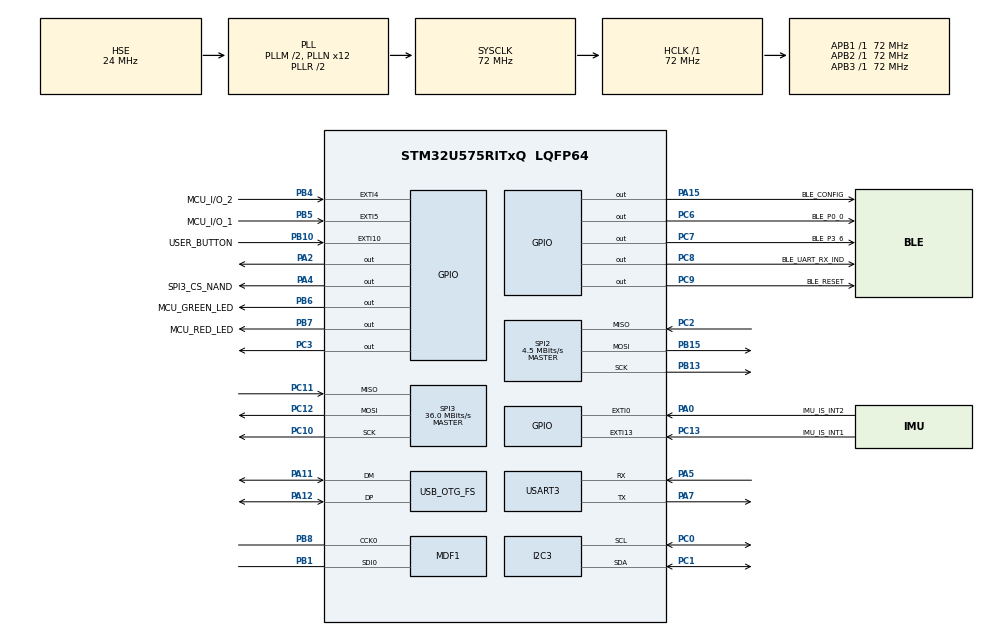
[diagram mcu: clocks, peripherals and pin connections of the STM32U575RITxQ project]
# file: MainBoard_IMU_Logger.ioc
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CORTEX_M33_NS.userName=CORTEX_M33
I2C3.Timing=0x10808DD3
MDF1.MDF_COMPARAM_ActivationClockTrigger=ENABLE
MDF1.MDF_COMPARAM_ActivationOutputClock=ENABLE
MDF1.MDF_COMPARAM_Divider=5
MDF1.MDF_COMPARAM_Pins=MDF_OUTPUT_CLOCK_ALL
MDF1.MDF_DFLT0_AcquisitionMode=MDF_MODE_SYNC_CONT
MDF1.MDF_DFLT0_CIC_Mode=MDF_ONE_FILTER_SINC5
MDF1.MDF_DFLT0_Decimation=16
MDF1.MDF_DFLT0_DiscardSamples=255
MDF1.MDF_DFLT0_Gain=1
MDF1.MDF_DFLT0_HighPassFilterActivation=ENABLE
MDF1.MDF_DFLT0_ReshapeFilterActivation=ENABLE
MDF1.MDF_SITF0_Mode_Display=MDF_SITF_NORMAL_SPI_MODE
MDF1.MDF_SITF0_Threshold=31
Mcu.Family=STM32U5
Mcu.Name=STM32U575RITxQ
Mcu.Package=LQFP64
NVIC.EXTI0_IRQn=true\:0\:0\:false\:false\:true\:true\:true\:true
NVIC.EXTI10_IRQn=true\:0\:0\:false\:false\:true\:true\:true\:true
NVIC.EXTI13_IRQn=true\:0\:0\:false\:false\:true\:true\:true\:true
NVIC.EXTI4_IRQn=true\:0\:0\:false\:false\:true\:true\:true\:true
NVIC.EXTI5_IRQn=true\:0\:0\:false\:false\:true\:true\:true\:true
NVIC.MDF1_FLT0_IRQn=true\:0\:0\:false\:false\:true\:true\:true\:true
NVIC.OTG_FS_IRQn=true\:0\:0\:false\:false\:true\:true\:true\:true
NVIC.PriorityGroup=NVIC_PRIORITYGROUP_4
NVIC.SPI2_IRQn=true\:0\:0\:false\:false\:true\:true\:true\:true
NVIC.SPI3_IRQn=true\:0\:0\:false\:false\:true\:true\:true\:true
NVIC.TIM2_IRQn=true\:2\:0\:true\:false\:true\:true\:true\:true
NVIC.USART3_IRQn=true\:0\:0\:false\:false\:true\:true\:true\:true
PA0.GPIO_Label=IMU_IS_INT2
PA0.Signal=GPXTI0
PA11.GPIO_Speed=GPIO_SPEED_FREQ_VERY_HIGH
PA11.Mode=Device_Only
PA11.Signal=USB_OTG_FS_DM
PA12.GPIO_Speed=GPIO_SPEED_FREQ_VERY_HIGH
PA12.Mode=Device_Only
PA12.Signal=USB_OTG_FS_DP
PA13\ (JTMS/SWDIO).Mode=Trace_Asynchronous_SW
PA13\ (JTMS/SWDIO).Signal=DEBUG_JTMS-SWDIO
PA14\ (JTCK/SWCLK).Mode=Trace_Asynchronous_SW
PA14\ (JTCK/SWCLK).Signal=DEBUG_JTCK-SWCLK
PA15\ (JTDI).GPIO_Label=BLE_CONFIG
PA15\ (JTDI).PinState=GPIO_PIN_SET
PA15\ (JTDI).Signal=GPIO_Output
PA2.Signal=GPIO_Output
PA4.GPIO_Label=SPI3_CS_NAND
PA4.Signal=GPIO_Output
PA5.Mode=Asynchronous
PA5.Signal=USART3_RX
PA7.Mode=Asynchronous
PA7.Signal=USART3_TX
PA9.Signal=USB_OTG_FS_VBUS
PB1.GPIO_Speed=GPIO_SPEED_FREQ_VERY_HIGH
PB1.Mode=MOD_MDF_SITF0_CCK0
PB1.Signal=MDF1_SDI0
PB10.GPIO_Label=USER_BUTTON
PB10.GPIO_ModeDefaultEXTI=GPIO_MODE_IT_RISING_FALLING
PB10.GPIO_PuPd=GPIO_PULLDOWN
PB10.Signal=GPXTI10
PB13.Mode=Full_Duplex_Master
PB13.Signal=SPI2_SCK
PB15.Mode=Full_Duplex_Master
PB15.Signal=SPI2_MOSI
PB3\ (JTDO/TRACESWO).Mode=Trace_Asynchronous_SW
PB3\ (JTDO/TRACESWO).Signal=DEBUG_JTDO-SWO
PB4\ (NJTRST).GPIO_Label=MCU_I/O_2
PB4\ (NJTRST).Signal=GPXTI4
PB5.GPIO_Label=MCU_I/O_1
PB5.Signal=GPXTI5
PB6.GPIO_Label=MCU_GREEN_LED
PB6.Signal=GPIO_Output
PB7.GPIO_Label=MCU_RED_LED
PB7.Signal=GPIO_Output
PB8.GPIO_FM8=SYSCFG_FASTMODEPLUS_PB8
PB8.GPIO_Speed=GPIO_SPEED_FREQ_VERY_HIGH
PB8.Mode=MOD_MDF_CCK0
PB8.Signal=MDF1_CCK0
PC0.Mode=I2C
PC0.Signal=I2C3_SCL
PC1.Mode=I2C
PC1.Signal=I2C3_SDA
PC10.Mode=Full_Duplex_Master
PC10.Signal=SPI3_SCK
PC11.Mode=Full_Duplex_Master
PC11.Signal=SPI3_MISO
PC12.Mode=Full_Duplex_Master
PC12.Signal=SPI3_MOSI
PC13.GPIO_Label=IMU_IS_INT1
PC13.Signal=GPXTI13
PC14-OSC32_IN\ (PC14).Mode=LSE-External-Oscillator
PC14-OSC32_IN\ (PC14).Signal=RCC_OSC32_IN
PC15-OSC32_OUT\ (PC15).Mode=LSE-External-Oscillator
PC15-OSC32_OUT\ (PC15).Signal=RCC_OSC32_OUT
PC2.Mode=Full_Duplex_Master
PC2.Signal=SPI2_MISO
PC3.Signal=GPIO_Output
PC6.GPIO_Label=BLE_P0_0
PC6.Signal=GPIO_Output
PC7.GPIO_Label=BLE_P3_6
PC7.Signal=GPIO_Output
PC8.GPIO_Label=BLE_UART_RX_IND
PC8.Signal=GPIO_Output
PC9.GPIO_Label=BLE_RESET
PC9.Signal=GPIO_Output
PH0-OSC_IN\ (PH0).Mode=HSE-External-Oscillator
PH0-OSC_IN\ (PH0).Signal=RCC_OSC_IN
PH1-OSC_OUT\ (PH1).Mode=HSE-External-Oscillator
PH1-OSC_OUT\ (PH1).Signal=RCC_OSC_OUT
ProjectManager.HeapSize=0x400
ProjectManager.StackSize=0x800
ProjectManager.TargetToolchain=CMake
RCC.ADCFreq_Value=16000000
RCC.AHBFreq_Value=72000000
RCC.APB1Freq_Value=72000000
RCC.APB1TimFreq_Value=72000000
RCC.APB2Freq_Value=72000000
RCC.APB2TimFreq_Value=72000000
RCC.APB3Freq_Value=72000000
RCC.CK48CLockSelection=RCC_CLK48CLKSOURCE_PLL1
RCC.CortexFreq_Value=72000000
RCC.EPOD_VALUE=24000000
RCC.HCLKFreq_Value=72000000
RCC.HSE_VALUE=24000000
RCC.HSI48_VALUE=48000000
RCC.HSI_VALUE=16000000
RCC.LSIDIV_VALUE=32000
RCC.MSIClockRange=RCC_MSIRANGE_0
RCC.MSI_VALUE=48000000
RCC.MdfClockSelection=RCC_MDF1CLKSOURCE_PLL3
RCC.PLL1Q=3
RCC.PLL2FRACN=0
RCC.PLL3FRACN=0
RCC.PLL3M=3
RCC.PLL3N=48
RCC.PLL3Q=25
RCC.PLL3Source=RCC_PLLSOURCE_HSE
RCC.PLLFRACN=0
RCC.PLLM=2
RCC.PLLN=12
RCC.PLLSourceVirtual=RCC_PLLSOURCE_HSE
RCC.SYSCLKFreq_VALUE=72000000
RCC.SYSCLKSource=RCC_SYSCLKSOURCE_PLLCLK
RCC.USBFreq_Value=48000000
RCC.VCOOutputFreq_Value=144000000
SPI2.BaudRatePrescaler=SPI_BAUDRATEPRESCALER_16
SPI2.CalculateBaudRate=4.5 MBits/s
SPI2.DataSize=SPI_DATASIZE_8BIT
SPI2.Direction=SPI_DIRECTION_2LINES
SPI2.Mode=SPI_MODE_MASTER
SPI2.VirtualType=VM_MASTER
SPI3.CalculateBaudRate=36.0 MBits/s
SPI3.Direction=SPI_DIRECTION_2LINES
SPI3.Mode=SPI_MODE_MASTER
SPI3.VirtualType=VM_MASTER
STMicroelectronics.FP-SNS-STAIOTCFT.1.1.0.MathOoLibCcCMSISJjDSPJjInclude=true
STMicroelectronics.FP-SNS-STAIOTCFT.1.1.0.MathOoLibCcCMSISJjDSPJjLib=true
TIM2.PeriodNoDither=100-1
TIM2.Prescaler=7200-1
USART3.VirtualMode-Asynchronous=VM_ASYNC
USB_OTG_FS.VirtualMode=Device_Only
VP_ICACHE_VS_ENABLE_ICACHE_MEMORY.Mode=Memoryregions
VP_LPBAMQUEUE_VS_QUEUE.Mode=QUEUEMODE
VP_LPBAM_VS_SIG1.Mode=SmartRun
VP_LPBAM_VS_SIG4.Mode=LPDMA1
VP_MDF1_VS_MDF_DFLT0.Mode=MOD_MDF_DFLT0
VP_MEMORYMAP_VS_MEMORYMAP.Mode=CurAppReg
VP_PWR_VS_LPOM.Mode=PowerOptimisation
VP_PWR_VS_SECSignals.Mode=Security/Privilege
VP_STMicroelectronics.FP-SNS-STAIOTCFT_VS_CMSISJjMathOoLib_1.0.0_1.1.0.Mode=CMSISJjMathOoLib
VP_TIM2_VS_ClockSourceINT.Mode=Internal
board=custom

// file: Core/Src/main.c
/* USER CODE BEGIN Header */
/**
  ******************************************************************************
  * @file           : main.c
  * @brief          : Main application file for MainBoard_IMU_Logger project.
  ******************************************************************************
  * @functionality  : This firmware implements a complete Data Logger for the on board IMU.
  * @details        : The application operates using a State Machine triggered by a
  * single USER BUTTON. It performs three primary tasks:
  * 1. Real-time Acquisition: Reads Accelerometer/Gyroscope data
  * via I2C, synchronized by a TIM2 interrupt.
  * 2. Wireless Transmission: Sends data packets via Bluetooth Low Energy (BLE)
  * using the UART interface.
  * 3. Data Logging: Saves acquired data to NAND Flash memory.
  *
  * Saved data can be downloaded via a USB Virtual COM Port (VCP)
  * connection, also initiated by the USER BUTTON.
  *
  * @intended_use   : Starting template for Smart Wearables Course
  * exploring IMU interfacing, BLE communication, and memory management.
  ******************************************************************************
  */
/* USER CODE END Header */
#include "main.h"

/* USER CODE BEGIN Includes */
#include "string.h"
#include "stdio.h"
#include "../../USB_Device/App/usb_device.h"
#include "SPI.h"
#include "SPI_NAND.h"
#include "Memory_operations.h"
#include "led_driver.h"
#include "imu_driver.h"
#include "MAX30101_driver.h"
#include "MAX30205_driver.h"
#include "bluetooth.h"
#include "ppg_filter.h"
#include <stdint.h>

/* USER CODE END Includes */

I2C_HandleTypeDef hi2c3;

MDF_HandleTypeDef MdfHandle0;
MDF_FilterConfigTypeDef MdfFilterConfig0;

SPI_HandleTypeDef hspi2;
SPI_HandleTypeDef hspi3;

TIM_HandleTypeDef htim2;

UART_HandleTypeDef huart3;

PCD_HandleTypeDef hpcd_USB_OTG_FS;

/* USER CODE BEGIN PV */

// --- State Machine ---
// The current state of the application. Initial state is IDLE.
static AppState current_state = STATE_IDLE;

// --- Global Flags and Variables ---
// Flag to indicate a USB connection event.
// Set to 1 when a USB connection is detected.
uint8_t usb_flag = 0;

// IMU data structures for accelerometer and gyroscope.

static IMU_Data accelerometer_data;
static IMU_Data gyroscope_data;

uint8_t raw_accelerometer[6] = {0};
uint8_t raw_gyroscope[6] = {0};
// Health data
static HEALTH_data hr_data[NUMBER_OF_ACTIVE_LEDS][32];
static float skin_temp;

uint8_t raw_health[3 * NUMBER_OF_ACTIVE_LEDS * 32] = {0};
uint8_t raw_temp[2];

uint16_t skin_timer = 0;
bool     conversion_status = 0;

uint8_t read_ptr_fifo;

/// ----- NAND FLASH variables ----- ///

uint8_t NAND_packet[4096] = {0};
uint16_t sample = 0;
uint16_t blocco_scritto = 0;
uint8_t pagina_scritta=0;
uint16_t b = 0;

read_address_t blocco;
column_address_t colonna = 0;

uint16_t bad_blocks[2048]={-1}; // bad blocks array for writing/reading
uint8_t bad_blocks2[2048]={0}; // bad blocks array for erasing

uint8_t data_letto[4096] = {0};
int exit_flag = 0;

// Timestamp variables //
Time_Struct timestamp;
uint16_t tim = 0;

/* USER CODE END PV */

void SystemClock_Config(void);
static void MX_GPIO_Init(void);
static void MX_ICACHE_Init(void);
static void MX_I2C3_Init(void);
static void MX_USART3_UART_Init(void);
static void MX_USB_OTG_FS_PCD_Init(void);
static void MX_MDF1_Init(void);
static void MX_TIM2_Init(void);
static void MX_SPI2_Init(void);
static void MX_SPI3_Init(void);

int main(void)
{

  /* MCU Configuration--------------------------------------------------------*/

  /* Reset of all peripherals, Initializes the Flash interface and the Systick. */
  HAL_Init();

  /* Configure the system clock */
  SystemClock_Config();

  /* Initialize all configured peripherals */
  MX_GPIO_Init();
  MX_ICACHE_Init();
  MX_I2C3_Init();
  MX_USART3_UART_Init();
  MX_USB_OTG_FS_PCD_Init();
  MX_MDF1_Init();
  MX_TIM2_Init();
  MX_SPI2_Init();
  MX_SPI3_Init();
  /* USER CODE BEGIN 2 */

  // Turn the RED LED on to indicate the start of the initialization process
  LED_On(LED_RED);

  // Initialize all hardware peripherals (ble, usb, nand flash, imu)
  BLE_Initialize();
  PPG_Filter_Init();
  MX_USB_Device_Init();
  HAL_Delay(1000);

  spi_nand_init();
  memset(bad_blocks, 0xFF, sizeof(bad_blocks)); // correctly init all elements to 0xFFFF
  find_bad_blocks(bad_blocks); // find bad_blocks and save them

  if(IMU_Init() == 1) {
    IMU_ConfigAccelerometer(ACC_ODR_104HZ, ACC_FS_4G, 1);
    IMU_ConfigGyroscope(GYR_ODR_104HZ, GYR_FS_250DPS, 1);
  } else {
    LED_Toggle(LED_RED);
    HAL_Delay(500);
    LED_Toggle(LED_RED);
    HAL_Delay(500);
    LED_Toggle(LED_RED);
    HAL_Delay(500);
    LED_Toggle(LED_RED);
    HAL_Delay(500);
    LED_Toggle(LED_RED);
    HAL_Delay(500);
    LED_Toggle(LED_RED);
    HAL_Delay(500);
  }

  if(MAX30101_Init() == 1) {
    uint8_t conf_fifo, conf_mode, spo2_conf, conf_led_pulse[LED_PULSE_N_REG], conf_multi_led[MULTI_LED_N_REG];
    conf_fifo = 0b01010000;
    conf_mode = 0b00000011;
    // spo2_conf = 0b01101111;
    // modifica ADC resolution al minimo (15 bit) per ridurre intensità fascio -> come ha consigliato Ilaria
    spo2_conf = 0b01101100;
    // conf_led_pulse[0] = 0x3F;
    // conf_led_pulse[1] = 0x3F;
    // modificare da 12mA a 6mA -> come ha consigliato Ilaria
    conf_led_pulse[0] = 0x1F;
    conf_led_pulse[1] = 0x1F;
    conf_led_pulse[2] = 0;
    conf_led_pulse[3] = 0;
    conf_multi_led[0] = 0b00010010;
    conf_multi_led[1] = 0;
    MAX30101_Mode_Config(conf_fifo, conf_mode, spo2_conf);
    MAX30101_LED_Config(conf_led_pulse, conf_multi_led);
  } else {
    LED_Toggle(LED_RED);
    HAL_Delay(500);
    LED_Toggle(LED_GREEN);
    HAL_Delay(500);
    LED_Toggle(LED_RED);
    HAL_Delay(500);
    LED_Toggle(LED_GREEN);
    HAL_Delay(500);
    LED_Toggle(LED_RED);
    HAL_Delay(500);
    LED_Toggle(LED_GREEN);
    HAL_Delay(500);
  }

  {
    MAX30205_Init();
  }

  // Turn off the red LED to indicate that initialization is complete
  LED_Off(LED_RED);
    LED_Off(LED_GREEN);

  /* USER CODE END 2 */

  /* Infinite loop */
  while (1)
  {

    /* USER CODE BEGIN 3 */

		//LED_Toggle(LED_GREEN);
		//HAL_Delay(1000);

	  switch(current_state)
	  {
	  	  case STATE_IDLE:
	  		// Check if a USB connection has been detected
  		if(!usb_flag)
		    {
	  			//MX_USB_Device_Init();
		    }
	  		else
	  		{
			   // Transition to the USB_CONNECTED state
	  		   current_state = STATE_USB_CONNECTED;
			   // Green LED on upon USB Connection
			   LED_On(LED_GREEN);
         LED_On(LED_RED);
		    }
	  		break;

	  	  case STATE_ACQUISITION:
	  		   // All data acquisition is handled by the timer interrupt

			break;

	  	  case STATE_USB_CONNECTED:
	  		break;

	  	  case STATE_DOWNLOAD:

	  		   // This state manages reading data blocks and sending them via USB.
	  		  // Once download is complete, the state returns to USB_CONNECTED.
	  		  // Read data packets from memory
	  		  read_memory_and_transmit();

			  current_state = STATE_USB_CONNECTED;
	  		 break;
	  }

  }
  /* USER CODE END 3 */
}

void SystemClock_Config(void)
{
  RCC_OscInitTypeDef RCC_OscInitStruct = {0};
  RCC_ClkInitTypeDef RCC_ClkInitStruct = {0};

  /** Configure the main internal regulator output voltage
  */
  if (HAL_PWREx_ControlVoltageScaling(PWR_REGULATOR_VOLTAGE_SCALE2) != HAL_OK)
  {
    Error_Handler();
  }

  /** Initializes the CPU, AHB and APB buses clocks
  */
  RCC_OscInitStruct.OscillatorType = RCC_OSCILLATORTYPE_HSE;
  RCC_OscInitStruct.HSEState = RCC_HSE_ON;
  RCC_OscInitStruct.PLL.PLLState = RCC_PLL_ON;
  RCC_OscInitStruct.PLL.PLLSource = RCC_PLLSOURCE_HSE;
  RCC_OscInitStruct.PLL.PLLMBOOST = RCC_PLLMBOOST_DIV2;
  RCC_OscInitStruct.PLL.PLLM = 2;
  RCC_OscInitStruct.PLL.PLLN = 12;
  RCC_OscInitStruct.PLL.PLLP = 2;
  RCC_OscInitStruct.PLL.PLLQ = 3;
  RCC_OscInitStruct.PLL.PLLR = 2;
  RCC_OscInitStruct.PLL.PLLRGE = RCC_PLLVCIRANGE_1;
  RCC_OscInitStruct.PLL.PLLFRACN = 0;
  if (HAL_RCC_OscConfig(&RCC_OscInitStruct) != HAL_OK)
  {
    Error_Handler();
  }

  /** Initializes the CPU, AHB and APB buses clocks
  */
  RCC_ClkInitStruct.ClockType = RCC_CLOCKTYPE_HCLK|RCC_CLOCKTYPE_SYSCLK
                              |RCC_CLOCKTYPE_PCLK1|RCC_CLOCKTYPE_PCLK2
                              |RCC_CLOCKTYPE_PCLK3;
  RCC_ClkInitStruct.SYSCLKSource = RCC_SYSCLKSOURCE_PLLCLK;
  RCC_ClkInitStruct.AHBCLKDivider = RCC_SYSCLK_DIV1;
  RCC_ClkInitStruct.APB1CLKDivider = RCC_HCLK_DIV1;
  RCC_ClkInitStruct.APB2CLKDivider = RCC_HCLK_DIV1;
  RCC_ClkInitStruct.APB3CLKDivider = RCC_HCLK_DIV1;

  if (HAL_RCC_ClockConfig(&RCC_ClkInitStruct, FLASH_LATENCY_2) != HAL_OK)
  {
    Error_Handler();
  }
}

static void MX_I2C3_Init(void)
{

  hi2c3.Instance = I2C3;
  hi2c3.Init.Timing = 0x10808DD3;
  hi2c3.Init.OwnAddress1 = 0;
  hi2c3.Init.AddressingMode = I2C_ADDRESSINGMODE_7BIT;
  hi2c3.Init.DualAddressMode = I2C_DUALADDRESS_DISABLE;
  hi2c3.Init.OwnAddress2 = 0;
  hi2c3.Init.OwnAddress2Masks = I2C_OA2_NOMASK;
  hi2c3.Init.GeneralCallMode = I2C_GENERALCALL_DISABLE;
  hi2c3.Init.NoStretchMode = I2C_NOSTRETCH_DISABLE;
  if (HAL_I2C_Init(&hi2c3) != HAL_OK)
  {
    Error_Handler();
  }

  /** Configure Analogue filter
  */
  if (HAL_I2CEx_ConfigAnalogFilter(&hi2c3, I2C_ANALOGFILTER_ENABLE) != HAL_OK)
  {
    Error_Handler();
  }

  /** Configure Digital filter
  */
  if (HAL_I2CEx_ConfigDigitalFilter(&hi2c3, 0) != HAL_OK)
  {
    Error_Handler();
  }

}

static void MX_ICACHE_Init(void)
{

}

static void MX_MDF1_Init(void)
{

  /**
    MdfHandle0 structure initialization and HAL_MDF_Init function call
  */
  MdfHandle0.Instance = MDF1_Filter0;
  MdfHandle0.Init.CommonParam.InterleavedFilters = 0;
  MdfHandle0.Init.CommonParam.ProcClockDivider = 1;
  MdfHandle0.Init.CommonParam.OutputClock.Activation = ENABLE;
  MdfHandle0.Init.CommonParam.OutputClock.Pins = MDF_OUTPUT_CLOCK_ALL;
  MdfHandle0.Init.CommonParam.OutputClock.Divider = 5;
  MdfHandle0.Init.CommonParam.OutputClock.Trigger.Activation = ENABLE;
  MdfHandle0.Init.CommonParam.OutputClock.Trigger.Source = MDF_CLOCK_TRIG_TRGO;
  MdfHandle0.Init.CommonParam.OutputClock.Trigger.Edge = MDF_CLOCK_TRIG_FALLING_EDGE;
  MdfHandle0.Init.SerialInterface.Activation = ENABLE;
  MdfHandle0.Init.SerialInterface.Mode = MDF_SITF_NORMAL_SPI_MODE;
  MdfHandle0.Init.SerialInterface.ClockSource = MDF_SITF_CCK0_SOURCE;
  MdfHandle0.Init.SerialInterface.Threshold = 31;
  MdfHandle0.Init.FilterBistream = MDF_BITSTREAM0_RISING;
  if (HAL_MDF_Init(&MdfHandle0) != HAL_OK)
  {
    Error_Handler();
  }

  /**
    MdfFilterConfig0, MdfOldConfig0 and/or MdfScdConfig0 structures initialization

    WARNING : only structures are filled, no specific init function call for filter
  */
  MdfFilterConfig0.DataSource = MDF_DATA_SOURCE_BSMX;
  MdfFilterConfig0.Delay = 0;
  MdfFilterConfig0.CicMode = MDF_ONE_FILTER_SINC5;
  MdfFilterConfig0.DecimationRatio = 16;
  MdfFilterConfig0.Offset = 0;
  MdfFilterConfig0.Gain = 1;
  MdfFilterConfig0.ReshapeFilter.Activation = ENABLE;
  MdfFilterConfig0.ReshapeFilter.DecimationRatio = MDF_RSF_DECIMATION_RATIO_4;
  MdfFilterConfig0.HighPassFilter.Activation = ENABLE;
  MdfFilterConfig0.HighPassFilter.CutOffFrequency = MDF_HPF_CUTOFF_0_000625FPCM;
  MdfFilterConfig0.Integrator.Activation = DISABLE;
  MdfFilterConfig0.SoundActivity.Activation = DISABLE;
  MdfFilterConfig0.AcquisitionMode = MDF_MODE_SYNC_CONT;
  MdfFilterConfig0.FifoThreshold = MDF_FIFO_THRESHOLD_NOT_EMPTY;
  MdfFilterConfig0.DiscardSamples = 255;
  MdfFilterConfig0.Trigger.Source = MDF_CLOCK_TRIG_TRGO;
  MdfFilterConfig0.Trigger.Edge = MDF_FILTER_TRIG_RISING_EDGE;

}

static void MX_SPI2_Init(void)
{

  SPI_AutonomousModeConfTypeDef HAL_SPI_AutonomousMode_Cfg_Struct = {0};

  /* SPI2 parameter configuration*/
  hspi2.Instance = SPI2;
  hspi2.Init.Mode = SPI_MODE_MASTER;
  hspi2.Init.Direction = SPI_DIRECTION_2LINES;
  hspi2.Init.DataSize = SPI_DATASIZE_8BIT;
  hspi2.Init.CLKPolarity = SPI_POLARITY_LOW;
  hspi2.Init.CLKPhase = SPI_PHASE_1EDGE;
  hspi2.Init.NSS = SPI_NSS_SOFT;
  hspi2.Init.BaudRatePrescaler = SPI_BAUDRATEPRESCALER_16;
  hspi2.Init.FirstBit = SPI_FIRSTBIT_MSB;
  hspi2.Init.TIMode = SPI_TIMODE_DISABLE;
  hspi2.Init.CRCCalculation = SPI_CRCCALCULATION_DISABLE;
  hspi2.Init.CRCPolynomial = 0x7;
  hspi2.Init.NSSPMode = SPI_NSS_PULSE_ENABLE;
  hspi2.Init.NSSPolarity = SPI_NSS_POLARITY_LOW;
  hspi2.Init.FifoThreshold = SPI_FIFO_THRESHOLD_01DATA;
  hspi2.Init.MasterSSIdleness = SPI_MASTER_SS_IDLENESS_00CYCLE;
  hspi2.Init.MasterInterDataIdleness = SPI_MASTER_INTERDATA_IDLENESS_00CYCLE;
  hspi2.Init.MasterReceiverAutoSusp = SPI_MASTER_RX_AUTOSUSP_DISABLE;
  hspi2.Init.MasterKeepIOState = SPI_MASTER_KEEP_IO_STATE_DISABLE;
  hspi2.Init.IOSwap = SPI_IO_SWAP_DISABLE;
  hspi2.Init.ReadyMasterManagement = SPI_RDY_MASTER_MANAGEMENT_INTERNALLY;
  hspi2.Init.ReadyPolarity = SPI_RDY_POLARITY_HIGH;
  if (HAL_SPI_Init(&hspi2) != HAL_OK)
  {
    Error_Handler();
  }
  HAL_SPI_AutonomousMode_Cfg_Struct.TriggerState = SPI_AUTO_MODE_DISABLE;
  HAL_SPI_AutonomousMode_Cfg_Struct.TriggerSelection = SPI_GRP1_GPDMA_CH0_TCF_TRG;
  HAL_SPI_AutonomousMode_Cfg_Struct.TriggerPolarity = SPI_TRIG_POLARITY_RISING;
  if (HAL_SPIEx_SetConfigAutonomousMode(&hspi2, &HAL_SPI_AutonomousMode_Cfg_Struct) != HAL_OK)
  {
    Error_Handler();
  }

}

static void MX_SPI3_Init(void)
{

  SPI_AutonomousModeConfTypeDef HAL_SPI_AutonomousMode_Cfg_Struct = {0};

  /* SPI3 parameter configuration*/
  hspi3.Instance = SPI3;
  hspi3.Init.Mode = SPI_MODE_MASTER;
  hspi3.Init.Direction = SPI_DIRECTION_2LINES;
  hspi3.Init.DataSize = SPI_DATASIZE_8BIT;
  hspi3.Init.CLKPolarity = SPI_POLARITY_LOW;
  hspi3.Init.CLKPhase = SPI_PHASE_1EDGE;
  hspi3.Init.NSS = SPI_NSS_SOFT;
  hspi3.Init.BaudRatePrescaler = SPI_BAUDRATEPRESCALER_2;
  hspi3.Init.FirstBit = SPI_FIRSTBIT_MSB;
  hspi3.Init.TIMode = SPI_TIMODE_DISABLE;
  hspi3.Init.CRCCalculation = SPI_CRCCALCULATION_DISABLE;
  hspi3.Init.CRCPolynomial = 0x7;
  hspi3.Init.NSSPMode = SPI_NSS_PULSE_ENABLE;
  hspi3.Init.NSSPolarity = SPI_NSS_POLARITY_LOW;
  hspi3.Init.FifoThreshold = SPI_FIFO_THRESHOLD_01DATA;
  hspi3.Init.MasterSSIdleness = SPI_MASTER_SS_IDLENESS_00CYCLE;
  hspi3.Init.MasterInterDataIdleness = SPI_MASTER_INTERDATA_IDLENESS_00CYCLE;
  hspi3.Init.MasterReceiverAutoSusp = SPI_MASTER_RX_AUTOSUSP_DISABLE;
  hspi3.Init.MasterKeepIOState = SPI_MASTER_KEEP_IO_STATE_DISABLE;
  hspi3.Init.IOSwap = SPI_IO_SWAP_DISABLE;
  hspi3.Init.ReadyMasterManagement = SPI_RDY_MASTER_MANAGEMENT_INTERNALLY;
  hspi3.Init.ReadyPolarity = SPI_RDY_POLARITY_HIGH;
  if (HAL_SPI_Init(&hspi3) != HAL_OK)
  {
    Error_Handler();
  }
  HAL_SPI_AutonomousMode_Cfg_Struct.TriggerState = SPI_AUTO_MODE_DISABLE;
  HAL_SPI_AutonomousMode_Cfg_Struct.TriggerSelection = SPI_GRP2_LPDMA_CH0_TCF_TRG;
  HAL_SPI_AutonomousMode_Cfg_Struct.TriggerPolarity = SPI_TRIG_POLARITY_RISING;
  if (HAL_SPIEx_SetConfigAutonomousMode(&hspi3, &HAL_SPI_AutonomousMode_Cfg_Struct) != HAL_OK)
  {
    Error_Handler();
  }

}

static void MX_TIM2_Init(void)
{

  TIM_ClockConfigTypeDef sClockSourceConfig = {0};
  TIM_MasterConfigTypeDef sMasterConfig = {0};

  htim2.Instance = TIM2;
  htim2.Init.Prescaler = 7200-1;
  htim2.Init.CounterMode = TIM_COUNTERMODE_UP;
  htim2.Init.Period = 99;
  htim2.Init.ClockDivision = TIM_CLOCKDIVISION_DIV1;
  htim2.Init.AutoReloadPreload = TIM_AUTORELOAD_PRELOAD_DISABLE;
  if (HAL_TIM_Base_Init(&htim2) != HAL_OK)
  {
    Error_Handler();
  }
  sClockSourceConfig.ClockSource = TIM_CLOCKSOURCE_INTERNAL;
  if (HAL_TIM_ConfigClockSource(&htim2, &sClockSourceConfig) != HAL_OK)
  {
    Error_Handler();
  }
  sMasterConfig.MasterOutputTrigger = TIM_TRGO_RESET;
  sMasterConfig.MasterSlaveMode = TIM_MASTERSLAVEMODE_DISABLE;
  if (HAL_TIMEx_MasterConfigSynchronization(&htim2, &sMasterConfig) != HAL_OK)
  {
    Error_Handler();
  }

}

static void MX_USART3_UART_Init(void)
{

  huart3.Instance = USART3;
  huart3.Init.BaudRate = 115200;
  huart3.Init.WordLength = UART_WORDLENGTH_8B;
  huart3.Init.StopBits = UART_STOPBITS_1;
  huart3.Init.Parity = UART_PARITY_NONE;
  huart3.Init.Mode = UART_MODE_TX_RX;
  huart3.Init.HwFlowCtl = UART_HWCONTROL_NONE;
  huart3.Init.OverSampling = UART_OVERSAMPLING_16;
  huart3.Init.OneBitSampling = UART_ONE_BIT_SAMPLE_DISABLE;
  huart3.Init.ClockPrescaler = UART_PRESCALER_DIV1;
  huart3.AdvancedInit.AdvFeatureInit = UART_ADVFEATURE_NO_INIT;
  if (HAL_UART_Init(&huart3) != HAL_OK)
  {
    Error_Handler();
  }
  if (HAL_UARTEx_SetTxFifoThreshold(&huart3, UART_TXFIFO_THRESHOLD_1_8) != HAL_OK)
  {
    Error_Handler();
  }
  if (HAL_UARTEx_SetRxFifoThreshold(&huart3, UART_RXFIFO_THRESHOLD_1_8) != HAL_OK)
  {
    Error_Handler();
  }
  if (HAL_UARTEx_DisableFifoMode(&huart3) != HAL_OK)
  {
    Error_Handler();
  }

}

static void MX_USB_OTG_FS_PCD_Init(void)
{

  hpcd_USB_OTG_FS.Instance = USB_OTG_FS;
  hpcd_USB_OTG_FS.Init.dev_endpoints = 6;
  hpcd_USB_OTG_FS.Init.speed = PCD_SPEED_FULL;
  hpcd_USB_OTG_FS.Init.phy_itface = PCD_PHY_EMBEDDED;
  hpcd_USB_OTG_FS.Init.Sof_enable = DISABLE;
  hpcd_USB_OTG_FS.Init.low_power_enable = DISABLE;
  hpcd_USB_OTG_FS.Init.lpm_enable = DISABLE;
  hpcd_USB_OTG_FS.Init.battery_charging_enable = DISABLE;
  hpcd_USB_OTG_FS.Init.use_dedicated_ep1 = DISABLE;
  hpcd_USB_OTG_FS.Init.vbus_sensing_enable = DISABLE;
  hpcd_USB_OTG_FS.Init.dma_enable = DISABLE;
  if (HAL_PCD_Init(&hpcd_USB_OTG_FS) != HAL_OK)
  {
    Error_Handler();
  }

}

static void MX_GPIO_Init(void)
{
  GPIO_InitTypeDef GPIO_InitStruct = {0};

  /* GPIO Ports Clock Enable */
  __HAL_RCC_GPIOC_CLK_ENABLE();
  __HAL_RCC_GPIOH_CLK_ENABLE();
  __HAL_RCC_GPIOA_CLK_ENABLE();
  __HAL_RCC_GPIOB_CLK_ENABLE();

  /*Configure GPIO pin Output Level */
  HAL_GPIO_WritePin(GPIOC, GPIO_PIN_3|BLE_P0_0_Pin|BLE_P3_6_Pin|BLE_UART_RX_IND_Pin
                          |BLE_RESET_Pin, GPIO_PIN_RESET);

  /*Configure GPIO pin Output Level */
  HAL_GPIO_WritePin(GPIOA, GPIO_PIN_2|SPI3_CS_NAND_Pin, GPIO_PIN_RESET);

  /*Configure GPIO pin Output Level */
  HAL_GPIO_WritePin(BLE_CONFIG_GPIO_Port, BLE_CONFIG_Pin, GPIO_PIN_SET);

  /*Configure GPIO pin Output Level */
  HAL_GPIO_WritePin(GPIOB, MCU_GREEN_LED_Pin|MCU_RED_LED_Pin, GPIO_PIN_RESET);

  /*Configure GPIO pin : IMU_IS_INT1_Pin */
  GPIO_InitStruct.Pin = IMU_IS_INT1_Pin;
  GPIO_InitStruct.Mode = GPIO_MODE_IT_RISING;
  GPIO_InitStruct.Pull = GPIO_NOPULL;
  HAL_GPIO_Init(IMU_IS_INT1_GPIO_Port, &GPIO_InitStruct);

  /*Configure GPIO pins : PC3 BLE_P0_0_Pin BLE_P3_6_Pin BLE_UART_RX_IND_Pin
                           BLE_RESET_Pin */
  GPIO_InitStruct.Pin = GPIO_PIN_3|BLE_P0_0_Pin|BLE_P3_6_Pin|BLE_UART_RX_IND_Pin
                          |BLE_RESET_Pin;
  GPIO_InitStruct.Mode = GPIO_MODE_OUTPUT_PP;
  GPIO_InitStruct.Pull = GPIO_NOPULL;
  GPIO_InitStruct.Speed = GPIO_SPEED_FREQ_LOW;
  HAL_GPIO_Init(GPIOC, &GPIO_InitStruct);

  /*Configure GPIO pin : IMU_IS_INT2_Pin */
  GPIO_InitStruct.Pin = IMU_IS_INT2_Pin;
  GPIO_InitStruct.Mode = GPIO_MODE_IT_RISING;
  GPIO_InitStruct.Pull = GPIO_NOPULL;
  HAL_GPIO_Init(IMU_IS_INT2_GPIO_Port, &GPIO_InitStruct);

  /*Configure GPIO pins : PA2 SPI3_CS_NAND_Pin BLE_CONFIG_Pin */
  GPIO_InitStruct.Pin = GPIO_PIN_2|SPI3_CS_NAND_Pin|BLE_CONFIG_Pin;
  GPIO_InitStruct.Mode = GPIO_MODE_OUTPUT_PP;
  GPIO_InitStruct.Pull = GPIO_NOPULL;
  GPIO_InitStruct.Speed = GPIO_SPEED_FREQ_LOW;
  HAL_GPIO_Init(GPIOA, &GPIO_InitStruct);

  /*Configure GPIO pin : USER_BUTTON_Pin */
  GPIO_InitStruct.Pin = USER_BUTTON_Pin;
  GPIO_InitStruct.Mode = GPIO_MODE_IT_RISING_FALLING;
  GPIO_InitStruct.Pull = GPIO_PULLDOWN;
  HAL_GPIO_Init(USER_BUTTON_GPIO_Port, &GPIO_InitStruct);

  /*Configure GPIO pins : MCU_I_O_2_Pin MCU_I_O_1_Pin */
  GPIO_InitStruct.Pin = MCU_I_O_2_Pin|MCU_I_O_1_Pin;
  GPIO_InitStruct.Mode = GPIO_MODE_IT_RISING;
  GPIO_InitStruct.Pull = GPIO_NOPULL;
  HAL_GPIO_Init(GPIOB, &GPIO_InitStruct);

  /*Configure GPIO pins : MCU_GREEN_LED_Pin MCU_RED_LED_Pin */
  GPIO_InitStruct.Pin = MCU_GREEN_LED_Pin|MCU_RED_LED_Pin;
  GPIO_InitStruct.Mode = GPIO_MODE_OUTPUT_PP;
  GPIO_InitStruct.Pull = GPIO_NOPULL;
  GPIO_InitStruct.Speed = GPIO_SPEED_FREQ_LOW;
  HAL_GPIO_Init(GPIOB, &GPIO_InitStruct);

  /* EXTI interrupt init*/
  HAL_NVIC_SetPriority(EXTI0_IRQn, 0, 0);
  HAL_NVIC_EnableIRQ(EXTI0_IRQn);

  HAL_NVIC_SetPriority(EXTI4_IRQn, 0, 0);
  HAL_NVIC_EnableIRQ(EXTI4_IRQn);

  HAL_NVIC_SetPriority(EXTI5_IRQn, 0, 0);
  HAL_NVIC_EnableIRQ(EXTI5_IRQn);

  HAL_NVIC_SetPriority(EXTI10_IRQn, 0, 0);
  HAL_NVIC_EnableIRQ(EXTI10_IRQn);

  HAL_NVIC_SetPriority(EXTI13_IRQn, 0, 0);
  HAL_NVIC_EnableIRQ(EXTI13_IRQn);

}

/* USER CODE BEGIN 4 */
/**
  * @brief  Callback function for the timer period elapsed event.
  * This function is triggered by a hardware timer at a fixed interval.
  * @param  htim: Pointer to the timer handle.
  */
void HAL_TIM_PeriodElapsedCallback(TIM_HandleTypeDef *htim)
{
	if(htim == &htim2){
    if(skin_timer == 0){
      MAX30205_Start_Conversion();
      conversion_status = true;
    }
    // Read sensor data from the IMU
    IMU_ReadAccelerometerData(&accelerometer_data, raw_accelerometer);
    IMU_ReadGyroscopeData(&gyroscope_data, raw_gyroscope);
    MAX30101_Read_Data(hr_data, raw_health, &read_ptr_fifo);
    if(conversion_status)
      MAX30205_Read_Temp(&skin_temp, raw_temp, conversion_status);
    if(skin_timer == 500)
      skin_timer = 0;
    else skin_timer++;

    // BLE Data sending: Individual Packets (decimated by 2 to prevent BLE over-the-air buffer overflow)
    static uint8_t ble_decimation_counter = 0;
    ble_decimation_counter++;
    if (ble_decimation_counter >= 2) {
        ble_decimation_counter = 0;

        // Extract IR from SLOT2 (index 1) and filter it
        uint8_t last_sample_idx = (read_ptr_fifo + 31) % 32;
        float32_t ppg_filtered_ir = PPG_Filter_ProcessSample((float32_t)hr_data[1][last_sample_idx]);

        BLE_SendPacket(DATA_TYPE_IMU_ACCELERATION, raw_accelerometer, 6);
        BLE_SendPacket(DATA_TYPE_IMU_GYROSCOPE, raw_gyroscope, 6);
        BLE_SendPacket(DATA_TYPE_PPG, (uint8_t*)&ppg_filtered_ir, sizeof(float32_t));
        BLE_SendPacket(DATA_TYPE_TEMP, raw_temp, 2);
    }

    // Save the raw data in memory
    // Create timestamp with sampling frequency @100 Hz
    timestamp.sss=tim*10;
    if(timestamp.sss == 1000) {
      timestamp.ss=timestamp.ss+1;
      timestamp.sss= 0;
      tim = 0;
      if (timestamp.ss==60){
        timestamp.mm=timestamp.mm+1;
        timestamp.ss=0;
        if (timestamp.mm==60){
          timestamp.hh=timestamp.hh+1;
          timestamp.mm=0;
        }
      }
    }

    tim++;

    // Create the data packet to be saved in memory
    write_packet(sample, timestamp, raw_gyroscope, raw_accelerometer, raw_health , raw_temp, NAND_packet);
    sample++;
    // Write data packet in memory
        write_memory();
	}
}

/**
  * @brief  Callback function for external interrupt events (e.g., a button press).
  * This function is triggered by the rising edge of the user button's signal.
  * @param  GPIO_Pin: The pin that triggered the interrupt.
  */
void HAL_GPIO_EXTI_Rising_Callback(uint16_t GPIO_Pin)
{
	if(GPIO_Pin == USER_BUTTON_Pin)
	{
		// A button press can trigger different state transitions depending on the current state.
		switch(current_state) {
			case STATE_IDLE:
				// If the device is idle, start data acquisition.
				erase_memory();
				sample = 0;
				pagina_scritta = 0;
				b = 0;
				memset(NAND_packet, 0, sizeof(NAND_packet));
				current_state = STATE_ACQUISITION;
        MAX30101_Reset();
        skin_timer = 0;
				HAL_TIM_Base_Start_IT(&htim2); // Start the timer for periodic data reading
				LED_On(LED_GREEN); // Provide visual feedback for starting acquisition
        LED_On(LED_RED);
			break;
			case STATE_ACQUISITION:
				// If data acquisition is active, stop it.
				current_state = STATE_IDLE;
				LED_Off(LED_GREEN); // Turn off the LED				HAL_TIM_Base_Stop_IT(&htim2); // Stop the timer

        LED_Off(LED_RED);
				break;
			case STATE_USB_CONNECTED:
				// If USB is connected, start the download process.
				exit_flag = 0;
				current_state = STATE_DOWNLOAD;
				break;
			default:
				// Do nothing for other states (e.g., if button is pressed during DOWNLOAD).
				break;
		}
	}
}

// Falling Edge when User Button is not pressed
void HAL_GPIO_EXTI_Falling_Callback(uint16_t GPIO_Pin)
{
	if(GPIO_Pin == USER_BUTTON_Pin)
	{

	}
}

/* USER CODE END 4 */

void Error_Handler(void)
{
  __disable_irq();
  while (1)
  {
  }
}
